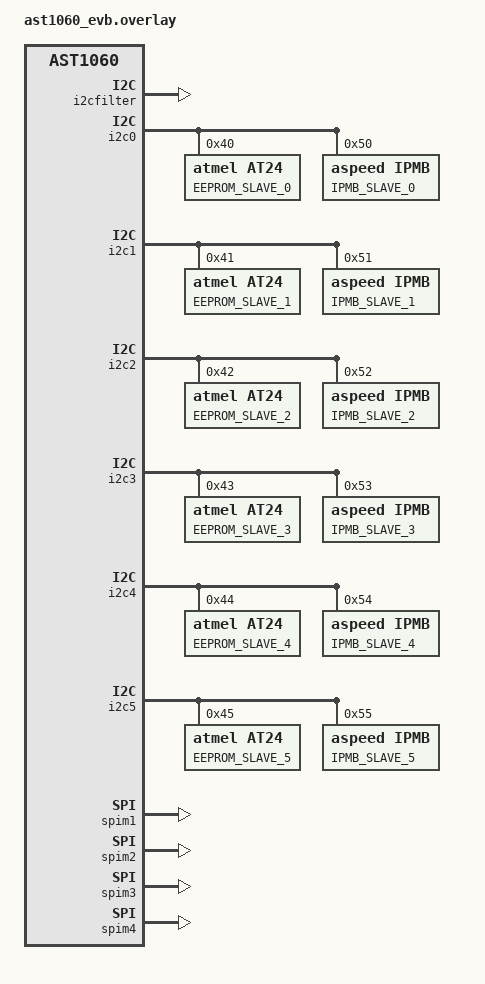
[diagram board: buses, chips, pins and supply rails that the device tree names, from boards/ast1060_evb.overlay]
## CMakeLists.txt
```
# SPDX-License-Identifier: Apache-2.0

cmake_minimum_required(VERSION 3.13.1)

find_package(Zephyr HINTS $ENV{ZEPHYR_BASE})
project(tektagon-oe)

set(TEKTAGON_ROOT ${CMAKE_CURRENT_LIST_DIR})

FILE(GLOB_RECURSE app_sources src/*.c)
target_sources(app PRIVATE ${app_sources})
set(CERBERUS_ROOT $ENV{ZEPHYR_BASE}/lib/cerberus)

#message(STATUS "Printing app_sources - ${app_sources}")

target_include_directories(
	app
	PRIVATE
		${CERBERUS_ROOT}/core
		${CERBERUS_ROOT}/projects/zephyr
		${TEKTAGON_ROOT}/src
		${AMI_PORT_ROOT}
)

target_compile_options(
	app
	PRIVATE
 		-fno-builtin
		-fdata-sections
		-Wall
		-Wextra
# 		-Werror
		-Wno-unused-parameter
		-g -ggdb3
)
```

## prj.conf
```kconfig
CONFIG_GPIO=y
CONFIG_SPI=y
CONFIG_I2C=y
CONFIG_THREAD_RUNTIME_STATS=y
CONFIG_GPIO_SHELL=y
CONFIG_I2C_SLAVE=y
CONFIG_I2C_EEPROM_SLAVE=y
CONFIG_FLASH=y
CONFIG_SPI_NOR_MULTI_DEV=y
CONFIG_FLASH_SHELL=y
CONFIG_HEAP_MEM_POOL_SIZE=16384
CONFIG_MINIMAL_LIBC_MALLOC_ARENA_SIZE=147456
CONFIG_REBOOT=y
CONFIG_POSIX_CLOCK=y
CONFIG_STACK_SENTINEL=y
CONFIG_LOG=y
CONFIG_LOG_BACKEND_UART=y
CONFIG_SHELL=y
CONFIG_SHELL_BACKEND_SERIAL_INIT_PRIORITY=99
CONFIG_PFR_FLOW_CTRL_AST1060=y
CONFIG_CRYPTO=y
CONFIG_CRYPTO_ASPEED=y
CONFIG_RSA_ASPEED=y
CONFIG_MAIN_STACK_SIZE=16384
```

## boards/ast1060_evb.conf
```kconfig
#CONFIG_GPIO_ASPEED_SGPIOM=y
CONFIG_GPIO_ASPEED=y
CONFIG_SPI_ASPEED=y
CONFIG_SPI_MONITOR_ASPEED=y
CONFIG_I2C_ASPEED=y
CONFIG_I2C_PFR=y
CONFIG_I2C_PFR_INIT_PRIORITY=60
CONFIG_I2C_PFR_FILTER=y
CONFIG_WATCHDOG=y
CONFIG_WDT_ASPEED=y
#CONFIG_CRYPTO=y
#CONFIG_CRYPTO_ASPEED=y
#CONFIG_RSA_ASPEED=y
#CONFIG_HW_STACK_PROTECTION=y
```

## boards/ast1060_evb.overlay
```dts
&i2cfilter {
	pinctrl-0 = <&pinctrl_smbflt_default>;
	status = "okay";
};

&i2c0 {
	status = "okay";
	pinctrl-0 = <&pinctrl_i2c0_default>;

	eeprom0: eeprom0@40 {
		compatible = "atmel,at24";
		reg = <0x40>;
		label = "EEPROM_SLAVE_0";
		size = <256>;
		pagesize = <16>;
		address-width = <8>;
		timeout = <5>;
#ifdef CONFIG_I2C_EEPROM_SLAVE
		status = "okay";
#endif
	};

	ipmb0: ipmb0@50 {
		compatible = "aspeed,ipmb";
		reg = <0x50>;
		label = "IPMB_SLAVE_0";
		size = <5>;
#ifdef CONFIG_I2C_IPMB_SLAVE
		status = "okay";
#endif
	};

};

&i2c1 {
	pinctrl-0 = <&pinctrl_i2c1_default>;
	status = "okay";

	eeprom1: eeprom1@41 {
		compatible = "atmel,at24";
		reg = <0x41>;
		label = "EEPROM_SLAVE_1";
		size = <256>;
		pagesize = <16>;
		address-width = <8>;
		timeout = <5>;
#ifdef CONFIG_I2C_EEPROM_SLAVE
		status = "okay";
#endif
	};

	ipmb1: ipmb1@51 {
		compatible = "aspeed,ipmb";
		reg = <0x51>;
		label = "IPMB_SLAVE_1";
		size = <5>;
#ifdef CONFIG_I2C_IPMB_SLAVE
		status = "okay";
#endif
	};

};

&i2c2 {
	pinctrl-0 = <&pinctrl_i2c2_default>;
	status = "okay";

	eeprom2: eeprom2@42 {
		compatible = "atmel,at24";
		reg = <0x42>;
		label = "EEPROM_SLAVE_2";
		size = <256>;
		pagesize = <16>;
		address-width = <8>;
		timeout = <5>;
#ifdef CONFIG_I2C_EEPROM_SLAVE
		status = "okay";
#endif
	};

	ipmb2: ipmb2@52 {
		compatible = "aspeed,ipmb";
		reg = <0x52>;
		label = "IPMB_SLAVE_2";
		size = <5>;
#ifdef CONFIG_I2C_IPMB_SLAVE
		status = "okay";
#endif
	};

};

&i2c3 {
	pinctrl-0 = <&pinctrl_i2c3_default>;
	status = "okay";

	eeprom3: eeprom3@43 {
		compatible = "atmel,at24";
		reg = <0x43>;
		label = "EEPROM_SLAVE_3";
		size = <256>;
		pagesize = <16>;
		address-width = <8>;
		timeout = <5>;
#ifdef CONFIG_I2C_EEPROM_SLAVE
		status = "okay";
#endif
	};

	ipmb3: ipmb3@53 {
		compatible = "aspeed,ipmb";
		reg = <0x53>;
		label = "IPMB_SLAVE_3";
		size = <5>;
#ifdef CONFIG_I2C_IPMB_SLAVE
		status = "okay";
#endif
	};

};

&i2c4 {
	pinctrl-0 = <&pinctrl_i2c4_default>;
	status = "okay";

	eeprom4: eeprom4@44 {
		compatible = "atmel,at24";
		reg = <0x44>;
		label = "EEPROM_SLAVE_4";
		size = <256>;
		pagesize = <16>;
		address-width = <8>;
		timeout = <5>;
#ifdef CONFIG_I2C_EEPROM_SLAVE
		status = "okay";
#endif
	};

	ipmb4: ipmb4@54 {
		compatible = "aspeed,ipmb";
		reg = <0x54>;
		label = "IPMB_SLAVE_4";
		size = <5>;
#ifdef CONFIG_I2C_IPMB_SLAVE
		status = "okay";
#endif
	};

};

&i2c5 {
	pinctrl-0 = <&pinctrl_i2c5_default>;
	status = "okay";

	eeprom5: eeprom5@45 {
		compatible = "atmel,at24";
		reg = <0x45>;
		label = "EEPROM_SLAVE_5";
		size = <256>;
		pagesize = <16>;
		address-width = <8>;
		timeout = <5>;
#ifdef CONFIG_I2C_EEPROM_SLAVE
		status = "okay";
#endif
	};

	ipmb5: ipmb5@55 {
		compatible = "aspeed,ipmb";
		reg = <0x55>;
		label = "IPMB_SLAVE_5";
		size = <5>;
#ifdef CONFIG_I2C_IPMB_SLAVE
		status = "okay";
#endif
	};

};

&spim1 {
	valid-cmds = [03 13 0b 0c 6b 6c 01 05 35 06 04 20 21 9f 5a b7 e9 32 34 d8 dc 02 12];
	read-forbidden-regions = <0x00000000 0x10000>;
	write-forbidden-regions = <0x00000000 0x10000>;
	log-ram-info = <0xBF000 0x400>;
	pinctrl-0 = <&pinctrl_spim1_default>;
	status = "okay";
};

&spim2 {
	valid-cmds = [03 13 0b 0c 6b 6c 01 05 35 06 04 20 21 9f 5a b7 e9 32 34 d8 dc 02 12];
	read-forbidden-regions = <0x00000000 0x10000>;
	write-forbidden-regions = <0x00000000 0x10000>;
	log-ram-info = <0xBF400 0x400>;
	pinctrl-0 = <&pinctrl_spim2_default>;
	status = "okay";
};

&spim3 {
	valid-cmds = [03 13 0b 0c 6b 6c 01 05 35 06 04 20 21 9f 5a b7 e9 32 34 d8 dc 02 12];
	read-forbidden-regions = <0x00000000 0x10000>;
	write-forbidden-regions = <0x00000000 0x10000>;
	log-ram-info = <0xBF800 0x400>;
	pinctrl-0 = <&pinctrl_spim3_default>;
	status = "okay";
};

&spim4 {
	valid-cmds = [03 13 0b 0c 6b 6c 01 05 35 06 04 20 21 9f 5a b7 e9 32 34 d8 dc 02 12];
	read-forbidden-regions = <0x00000000 0x10000>;
	write-forbidden-regions = <0x00000000 0x10000>;
	log-ram-info = <0xBFC00 0x400>;
	pinctrl-0 = <&pinctrl_spim4_default>;
	status = "okay";
};
```

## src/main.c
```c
/*
 * Copyright 2021 ASPEED
 *
 * SPDX-License-Identifier: Apache-2.0
 */

#include <zephyr.h>
#include <sys/printk.h>

#include <logging/debug_log.h>

#include "engineManager/engine_manager.h"
#include "include/definitions.h"
#include "platform.h"
#include <kernel.h>
#include <flash/flash_wrapper.h>
#include <crypto/hash_wrapper.h>
//struct engine_instances engineInstances;

static int tektagonPlatformInit()
{
	int status = 0;
	status = initializeEngines(/*&engineInstances*/);
	if(status)
		return status;

	status = initializeManifestProcessor();
	if(status)
			return status;
	printk("Platform Init\r\n");
	return status;
}

void main(void)
{
	int status = 0;
	printk("\r\n *** Tektagon OE version 1.0 ***\r\n");
	// clear internal logging
	//status = debug_log_clear();
	//if(status)
		//return status;

	status = tektagonPlatformInit();

	if(status)
			return status;

	// Process PFM from Flash into Cerberus library
	status = processPfmFlashManifest();
	
	if(status){
		printk("System Lock \n");
		return status;
	}else{
		printk("Verification Complete Release BMC\n");
		pfr_bmc_rst_flash(1);
		pfr_bmc_rst_enable_ctrl(false);
		BmcBootRelease();
	}
}
```
